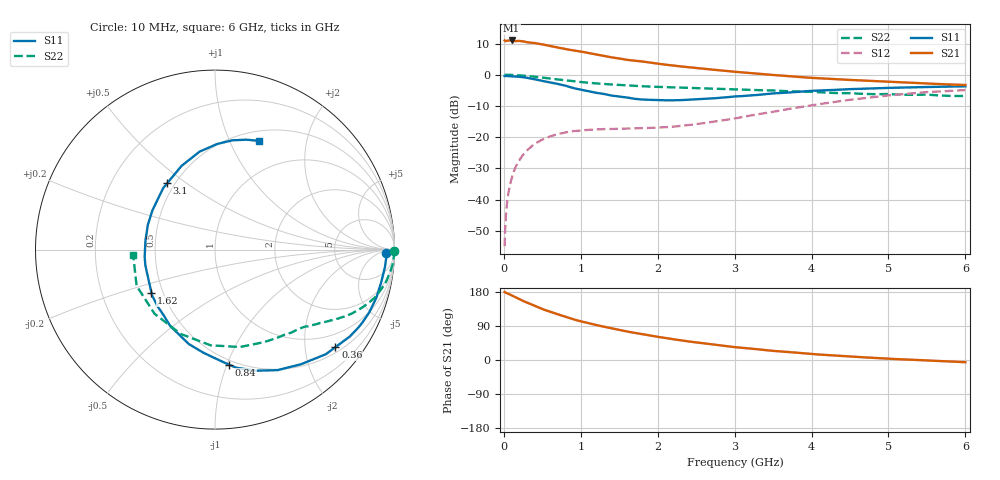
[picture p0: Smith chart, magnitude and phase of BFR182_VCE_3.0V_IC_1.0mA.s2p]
! Infineon Technologies  Discrete & RF Semiconductors
! BFR182
! VCE =  3.0 V,  IC =  1.0 mA
! Common Emitter S-Parameters:  Nov 2015
# GHz  S  MA  R  50
!  f  S11  S21  S12  S22
! GHz  MAG  ANG  MAG  ANG  MAG  ANG  MAG  ANG
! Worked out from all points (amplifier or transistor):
!   210 points, 10 MHz to 6 GHz, reference 50 ohm
!   highest |S21| = 11.0 dB at 100 MHz (marker M1)
!   |S21| within 3 dB of that: start of sweep to 859.6 MHz
!   unconditionally stable (mu >= 1): 1.786 GHz to 3.277 GHz
!   at 185 MHz: K = 0.12, MSG = 19.4 dB, |S12| = -28.1 dB
!   at 1.52 GHz: K = 0.88, MSG = 11.2 dB, |S12| = -17.3 dB
!   at 6 GHz: K = 0.95, MSG = 0.8 dB, |S12| = -4.9 dB
!   S11 on the Smith chart (normalised r, x): 10 MHz: 37, -15; 360 MHz: 0.63, -2.69; 840 MHz: 0.46, -1.02; 1.62 GHz: 0.43, -0.26; 3.1 GHz: 0.46, +0.42; 6 GHz: 0.61, +1.29
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0.01  0.9548 -1.1  3.538 179.4  0.0018 84.5  0.9986 -0.4
0.02  0.956 -2.1  3.452 178.0  0.004 86.9  0.9962 -1.0
0.04  0.9531 -4.4  3.499 176.3  0.0085 85.2  0.9969 -1.9
0.06  0.95 -6.7  3.524 174.5  0.0129 84.5  0.9967 -2.7
0.1  0.9441 -11.0  3.539 170.8  0.0215 83.6  0.9944 -4.4
0.15  0.9383 -16.5  3.447 165.4  0.0326 79.1  0.9859 -6.7
0.2  0.9283 -22.0  3.481 160.8  0.0424 76.5  0.9771 -8.8
0.24  0.9159 -26.5  3.443 156.9  0.0503 73.3  0.97 -10.6
0.36  0.8636 -39.0  3.25 146.7  0.0713 66.4  0.9411 -15.0
0.5  0.7988 -53.1  3.068 134.3  0.0915 59.1  0.8997 -19.8
0.7  0.7128 -71.2  2.736 120.7  0.1122 50.6  0.8408 -25.1
0.84  0.6452 -83.1  2.527 111.5  0.1216 46.1  0.8047 -27.8
1.02  0.5701 -98.3  2.328 101.1  0.129 41.9  0.761 -31.1
1.3  0.493 -120.5  2.002 87.9  0.135 38.3  0.7114 -35.2
1.62  0.4283 -145.7  1.722 74.5  0.1374 37.8  0.6747 -39.2
2.02  0.3928 -175.3  1.495 60.6  0.1429 42.4  0.6382 -44.4
2.4  0.3989 159.6  1.321 49.0  0.1562 48.8  0.6134 -50.5
3.1  0.4555 125.9  1.09 32.2  0.2103 56.1  0.576 -64.9
4.1  0.5581 96.9  0.878 14.4  0.338 52.6  0.5238 -96.3
5.1  0.6195 79.7  0.761 2.4  0.4781 38.5  0.4834 -137.6
5.5  0.6369 74.1  0.721 -1.2  0.5275 31.6  0.4812 -155.2
6  0.6527 68.2  0.685 -5.8  0.5681 22.1  0.4568 -176.4
